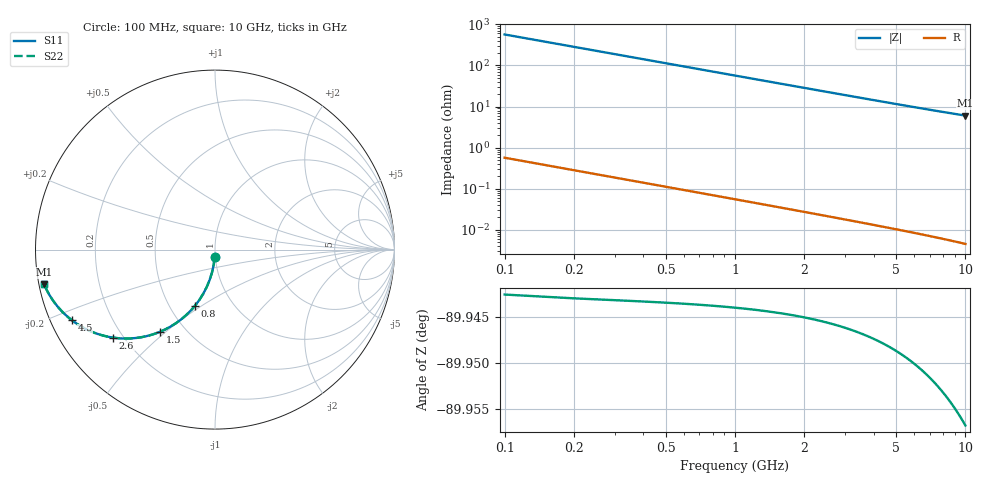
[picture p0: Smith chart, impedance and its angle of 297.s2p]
# Hz S RI R 50.00
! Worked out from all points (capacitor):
!   100 points, 100 MHz to 10 GHz, reference 50 ohm
!   read as one part in shunt: C = 2.81 pF near 100 MHz
!   lowest |Z| = 6.02 ohm at 10 GHz (marker M1)
!   S11 on the Smith chart (normalised r, x): 100 MHz: 0.99, -0.09; 800 MHz: 0.67, -0.47; 1.5 GHz: 0.36, -0.48; 2.6 GHz: 0.16, -0.36; 4.5 GHz: 0.06, -0.23; 10 GHz: 0.01, -0.10
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1e8  -0.00194 -0.0439  0.998 -0.0442  0.998 -0.0442  -0.00194 -0.0439
2e8  -0.00777 -0.0873  0.9921 -0.088  0.9921 -0.088  -0.00777 -0.0873
3e8  -0.0173 -0.1296  0.9826 -0.1307  0.9826 -0.1307  -0.0173 -0.1296
4e8  -0.0304 -0.1705  0.9695 -0.1719  0.9695 -0.1719  -0.0304 -0.1705
5e8  -0.0466 -0.2095  0.9533 -0.2113  0.9533 -0.2113  -0.0466 -0.2095
6e8  -0.0657 -0.2464  0.9342 -0.2485  0.9342 -0.2485  -0.0657 -0.2464
8e8  -0.1111 -0.3124  0.8888 -0.3152  0.8888 -0.3152  -0.1111 -0.3124
9e8  -0.1366 -0.3414  0.8633 -0.3445  0.8633 -0.3445  -0.1366 -0.3414
1.1e9  -0.191 -0.3907  0.8089 -0.3946  0.8089 -0.3946  -0.191 -0.3907
1.3e9  -0.2479 -0.4291  0.7519 -0.4336  0.7519 -0.4336  -0.2479 -0.4291
1.5e9  -0.305 -0.4573  0.6949 -0.4625  0.6949 -0.4625  -0.305 -0.4573
1.8e9  -0.3871 -0.4835  0.6127 -0.4897  0.6127 -0.4897  -0.3871 -0.4835
2.2e9  -0.4854 -0.4954  0.5144 -0.5031  0.5144 -0.5031  -0.4854 -0.4954
2.6e9  -0.5685 -0.4902  0.4314 -0.4993  0.4314 -0.4993  -0.5685 -0.4902
3e9  -0.6369 -0.4751  0.3629 -0.4856  0.3629 -0.4856  -0.6369 -0.4751
3.4e9  -0.6926 -0.4549  0.3072 -0.4668  0.3072 -0.4668  -0.6926 -0.4549
3.9e9  -0.7479 -0.4268  0.2519 -0.4405  0.2519 -0.4405  -0.7479 -0.4268
4.5e9  -0.7981 -0.3929  0.2017 -0.4088  0.2017 -0.4088  -0.7981 -0.3929
5.1e9  -0.8356 -0.3609  0.1641 -0.379  0.1641 -0.379  -0.8356 -0.3609
6.7e9  -0.8981 -0.2897  0.1015 -0.3138  0.1015 -0.3138  -0.8981 -0.2897
8.4e9  -0.9331 -0.2335  0.0663 -0.2641  0.0663 -0.2641  -0.9331 -0.2335
1e10  -0.9522 -0.1935  0.047 -0.2303  0.047 -0.2303  -0.9522 -0.1935
